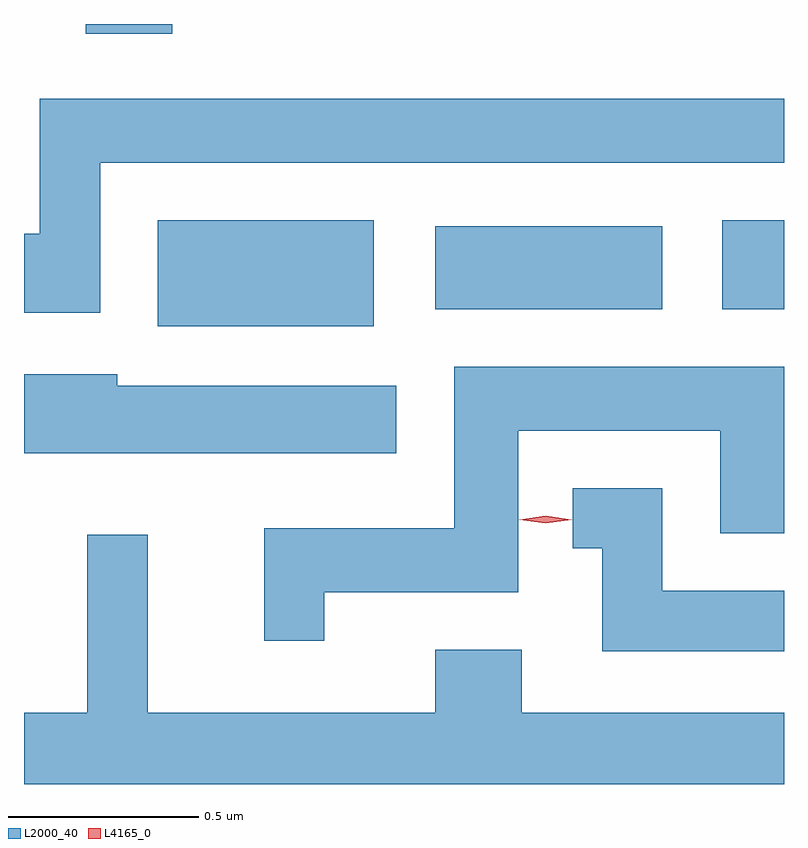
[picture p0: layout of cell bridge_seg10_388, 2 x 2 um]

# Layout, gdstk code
import gdstk
lib = gdstk.Library(unit=1e-6, precision=1e-09)
def R(c, l, rs):  # rectangles x0, y0, x1, y1
    for r in rs: c.add(gdstk.rectangle(r[:2], r[2:], *l))
def P(c, l, *ps):  # polygons
    for p in ps: c.add(gdstk.Polygon(p, *l))
L2000_40 = (2000, 40)
L4165_0 = (4165, 0)

bridge_seg10_388 = lib.new_cell('bridge_seg10_388')
R(bridge_seg10_388, L2000_40, [(1104.001,2088.561,1104.569,2088.839), (1104.731,2088.606,1105.329,2088.824), (1105.486,2088.606,1105.649,2088.839), (1103.811,2089.331,1104.039,2089.356)])
P(bridge_seg10_388, L2000_40, [(1103.849,2088.991),(1105.649,2088.991),(1105.649,2089.159),(1103.691,2089.159),(1103.691,2088.804),(1103.649,2088.804),(1103.649,2088.596),(1103.849,2088.596)],
  [(1104.439,2087.861),(1104.949,2087.861),(1104.949,2088.286),(1105.481,2088.286),(1105.481,2088.016),(1105.649,2088.016),(1105.649,2088.454),(1104.781,2088.454),(1104.781,2088.029),(1104.281,2088.029),(1104.281,2087.733),(1104.439,2087.733)],
  [(1104.629,2088.404),(1103.894,2088.404),(1103.894,2088.434),(1103.649,2088.434),(1103.649,2088.226),(1104.629,2088.226)],
  [(1105.649,2087.864),(1105.329,2087.864),(1105.329,2088.134),(1105.093,2088.134),(1105.093,2087.976),(1105.171,2087.976),(1105.171,2087.706),(1105.649,2087.706)],
  [(1105.649,2087.544),(1104.959,2087.544),(1104.959,2087.709),(1104.731,2087.709),(1104.731,2087.544),(1103.974,2087.544),(1103.974,2088.012),(1103.816,2088.012),(1103.816,2087.544),(1103.649,2087.544),(1103.649,2087.356),(1105.649,2087.356)])
P(bridge_seg10_388, L4165_0, [(1105.022,2088.042),(1104.952,2088.051),(1104.952,2088.052),(1104.952,2088.052),(1105.022,2088.062),(1105.091,2088.052),(1105.091,2088.052),(1105.091,2088.051)])

lib.write_gds('bridge_seg10_388.gds')
